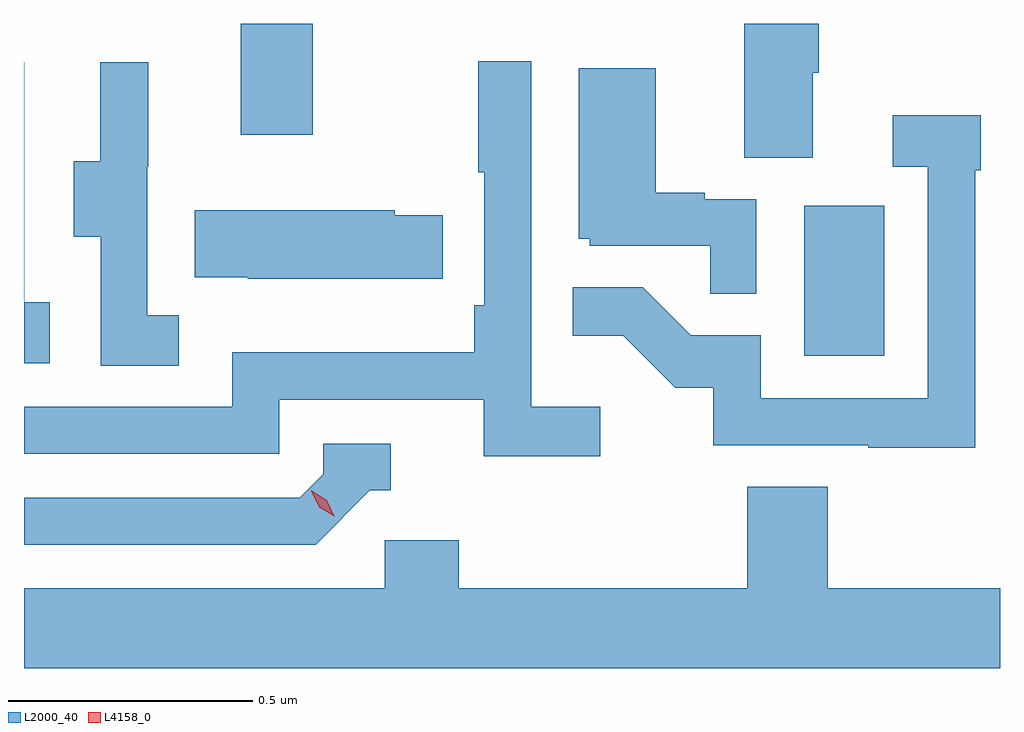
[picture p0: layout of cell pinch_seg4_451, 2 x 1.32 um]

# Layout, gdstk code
import gdstk
lib = gdstk.Library(unit=1e-6, precision=1e-09)
def R(c, l, rs):  # rectangles x0, y0, x1, y1
    for r in rs: c.add(gdstk.rectangle(r[:2], r[2:], *l))
def P(c, l, *ps):  # polygons
    for p in ps: c.add(gdstk.Polygon(p, *l))
L2000_40 = (2000, 40)
L4158_0 = (4158, 0)

pinch_seg4_451 = lib.new_cell('pinch_seg4_451')
R(pinch_seg4_451, L2000_40, [(899.294,778.812,899.458,779.119), (898.139,779.265,898.287,779.492)])
P(pinch_seg4_451, L2000_40, [(899.311,779.392),(899.324,779.392),(899.324,779.492),(899.171,779.492),(899.171,779.218),(899.311,779.218)],
  [(898.876,778.708),(898.734,778.708),(898.734,779.416),(898.626,779.416),(898.626,779.188),(898.638,779.188),(898.638,778.915),(898.618,778.915),(898.618,778.819),(898.122,778.819),(898.122,778.707),(897.695,778.707),(897.695,778.611),(898.218,778.611),(898.218,778.722),(898.637,778.722),(898.637,778.606),(898.876,778.606)],
  [(898.012,778.895),(897.948,778.895),(897.948,779.199),(897.95,779.199),(897.95,779.413),(897.851,779.413),(897.851,779.211),(897.797,779.211),(897.797,779.056),(897.852,779.056),(897.852,778.792),(898.012,778.792)],
  [(897.748,778.922),(897.696,778.922),(897.696,779.413),(897.695,779.413),(897.695,778.797),(897.748,778.797)],
  [(899.196,779.133),(899.09,779.133),(899.09,779.146),(898.99,779.146),(898.99,779.401),(898.832,779.401),(898.832,779.052),(898.854,779.052),(898.854,779.037),(899.101,779.037),(899.101,778.939),(899.196,778.939)],
  [(899.644,779.192),(899.656,779.192),(899.656,779.305),(899.475,779.305),(899.475,779.199),(899.547,779.199),(899.547,778.725),(899.205,778.725),(899.205,778.854),(899.061,778.854),(898.963,778.952),(898.819,778.952),(898.819,778.853),(898.923,778.853),(899.03,778.746),(899.107,778.746),(899.107,778.629),(899.425,778.629),(899.425,778.624),(899.644,778.624)],
  [(898.553,779.1),(898.455,779.1),(898.455,779.11),(898.045,779.11),(898.045,778.973),(898.153,778.973),(898.153,778.97),(898.553,778.97)],
  [(898.404,778.536),(898.447,778.536),(898.447,778.632),(898.308,778.632),(898.308,778.569),(898.26,778.521),(897.695,778.521),(897.695,778.425),(898.293,778.425)],
  [(899.695,778.336),(899.342,778.336),(899.342,778.544),(899.177,778.544),(899.177,778.336),(898.586,778.336),(898.586,778.434),(898.434,778.434),(898.434,778.336),(897.695,778.336),(897.695,778.172),(899.695,778.172)])
P(pinch_seg4_451, L4158_0, [(898.331,778.483),(898.3,778.502),(898.284,778.535),(898.284,778.535),(898.285,778.535),(898.315,778.516),(898.331,778.483),(898.331,778.483)])

lib.write_gds('pinch_seg4_451.gds')
